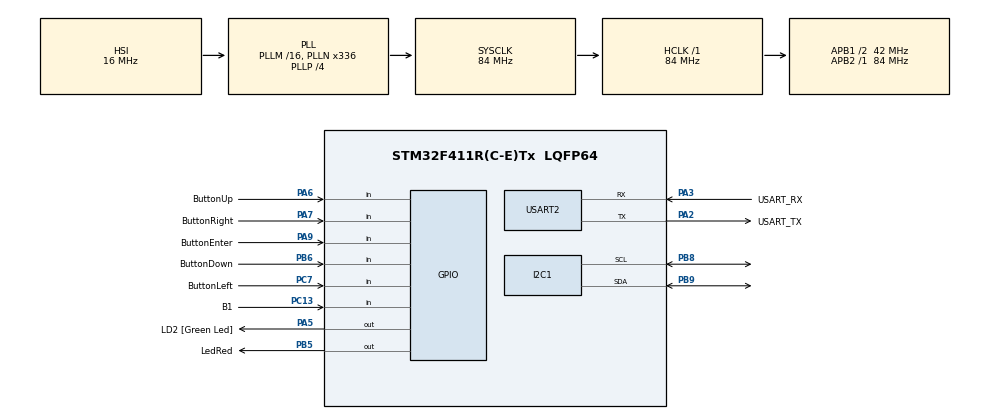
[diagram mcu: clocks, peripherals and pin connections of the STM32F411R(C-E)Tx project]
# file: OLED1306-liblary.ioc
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Dma.I2C1_TX.0.Direction=DMA_MEMORY_TO_PERIPH
Dma.I2C1_TX.0.FIFOMode=DMA_FIFOMODE_DISABLE
Dma.I2C1_TX.0.Instance=DMA1_Stream1
Dma.I2C1_TX.0.MemDataAlignment=DMA_MDATAALIGN_BYTE
Dma.I2C1_TX.0.MemInc=DMA_MINC_ENABLE
Dma.I2C1_TX.0.Mode=DMA_NORMAL
Dma.I2C1_TX.0.PeriphDataAlignment=DMA_PDATAALIGN_BYTE
Dma.I2C1_TX.0.PeriphInc=DMA_PINC_DISABLE
Dma.I2C1_TX.0.Priority=DMA_PRIORITY_LOW
Dma.Request0=I2C1_TX
I2C1.I2C_Mode=I2C_Fast
Mcu.Family=STM32F4
Mcu.Name=STM32F411R(C-E)Tx
Mcu.Package=LQFP64
NVIC.DMA1_Stream1_IRQn=true\:0\:0\:false\:true\:true\:2\:false\:true\:true
NVIC.I2C1_EV_IRQn=true\:0\:0\:false\:true\:true\:1\:true\:true\:true
NVIC.PriorityGroup=NVIC_PRIORITYGROUP_0
PA13.GPIO_Label=TMS
PA13.Mode=Serial_Wire
PA13.Signal=SYS_JTMS-SWDIO
PA14.GPIO_Label=TCK
PA14.Mode=Serial_Wire
PA14.Signal=SYS_JTCK-SWCLK
PA2.GPIO_Label=USART_TX
PA2.Mode=Asynchronous
PA2.Signal=USART2_TX
PA3.GPIO_Label=USART_RX
PA3.Mode=Asynchronous
PA3.Signal=USART2_RX
PA5.GPIO_Label=LD2 [Green Led]
PA5.Signal=GPIO_Output
PA6.GPIO_Label=ButtonUp
PA6.GPIO_PuPd=GPIO_PULLUP
PA6.Signal=GPIO_Input
PA7.GPIO_Label=ButtonRight
PA7.GPIO_PuPd=GPIO_PULLUP
PA7.Signal=GPIO_Input
PA9.GPIO_Label=ButtonEnter
PA9.GPIO_PuPd=GPIO_PULLUP
PA9.Signal=GPIO_Input
PB3.GPIO_Label=SWO
PB3.Signal=SYS_JTDO-SWO
PB5.GPIO_Label=LedRed
PB5.Signal=GPIO_Output
PB6.GPIO_Label=ButtonDown
PB6.GPIO_PuPd=GPIO_PULLUP
PB6.Signal=GPIO_Input
PB8.Mode=I2C
PB8.Signal=I2C1_SCL
PB9.Mode=I2C
PB9.Signal=I2C1_SDA
PC13-ANTI_TAMP.GPIO_Label=B1
PC13-ANTI_TAMP.GPIO_PuPd=GPIO_PULLUP
PC13-ANTI_TAMP.Signal=GPIO_Input
PC14-OSC32_IN.Mode=LSE-External-Oscillator
PC14-OSC32_IN.Signal=RCC_OSC32_IN
PC15-OSC32_OUT.Mode=LSE-External-Oscillator
PC15-OSC32_OUT.Signal=RCC_OSC32_OUT
PC7.GPIO_Label=ButtonLeft
PC7.GPIO_PuPd=GPIO_PULLUP
PC7.Signal=GPIO_Input
PH0\ -\ OSC_IN.Mode=HSE-External-Clock-Source
PH0\ -\ OSC_IN.Signal=RCC_OSC_IN
PH1\ -\ OSC_OUT.Mode=HSE-External-Clock-Source
PH1\ -\ OSC_OUT.Signal=RCC_OSC_OUT
ProjectManager.HeapSize=0x200
ProjectManager.StackSize=0x400
ProjectManager.TargetToolchain=STM32CubeIDE
RCC.48MHZClocksFreq_Value=84000000
RCC.AHBFreq_Value=84000000
RCC.APB1CLKDivider=RCC_HCLK_DIV2
RCC.APB1Freq_Value=42000000
RCC.APB1TimFreq_Value=84000000
RCC.APB2Freq_Value=84000000
RCC.APB2TimFreq_Value=84000000
RCC.CortexFreq_Value=84000000
RCC.FLatency-AdvancedSettings=FLASH_LATENCY_2
RCC.HCLKFreq_Value=84000000
RCC.HSE_VALUE=8000000
RCC.HSI_VALUE=16000000
RCC.PLLN=336
RCC.PLLP=RCC_PLLP_DIV4
RCC.SYSCLKFreq_VALUE=84000000
RCC.SYSCLKSource=RCC_SYSCLKSOURCE_PLLCLK
RCC.VCOOutputFreq_Value=336000000
USART2.VirtualMode=VM_ASYNC
board=NUCLEO-F411RE

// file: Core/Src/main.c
/* USER CODE BEGIN Header */
/**
  ******************************************************************************
  * @file           : main.c
  * @brief          : Main program body
  ******************************************************************************
  * @attention
  *
  * Copyright (c) 2026 STMicroelectronics.
  * All rights reserved.
  *
  * This software is licensed under terms that can be found in the LICENSE file
  * in the root directory of this software component.
  * If no LICENSE file comes with this software, it is provided AS-IS.
  *
  ******************************************************************************
  */
/* USER CODE END Header */
#include "main.h"
#include "dma.h"
#include "i2c.h"
#include "usart.h"
#include "gpio.h"

/* USER CODE BEGIN Includes */
#include "SSD1306_OLED.h"
#include "GFX_BW.h"
#include "Button.h"
#include "GameConsoleMenu.h"
#include "fonts/fonts.h"
#include "GameSnake.h"
#include "FlappyBird.h"
/* USER CODE END Includes */

/* USER CODE BEGIN PV */
SSD1306_t OLED;

//Buttons
Button_t Enter, Up, Down, Left, Right;
uint8_t ButtonPressedFlag;

//Game console FSM
GameConsole_t Console;

/* USER CODE END PV */

void SystemClock_Config(void);
static void MX_NVIC_Init(void);
/* USER CODE BEGIN PFP */
void Snake_Confirm(void);
void Action_PlaySnake(void);

void Action_PlayFlappy(void);

void TurnLedOff(void);
void TurnLedOn(void);
void ToggleLed(void);

//Wrapper
void Action_MenuUp(void);
void Action_MenuDown(void);
void Action_MenuEnter(void);
void Action_MenuLeft(void);
void Action_MenuRight(void);

/* USER CODE END PFP */

int main(void)
{

  /* MCU Configuration--------------------------------------------------------*/

  /* Reset of all peripherals, Initializes the Flash interface and the Systick. */
  HAL_Init();

  /* Configure the system clock */
  SystemClock_Config();

  /* Initialize all configured peripherals */
  MX_GPIO_Init();
  MX_DMA_Init();
  MX_USART2_UART_Init();
  MX_I2C1_Init();

  /* Initialize interrupts */
  MX_NVIC_Init();
  /* USER CODE BEGIN 2 */
  SSD1306_Init(&OLED, 0x3C, &hi2c1);
  HAL_Delay(50);
  GFX_SetFont(font_8x5);
  SSD1306_Clear(BLACK);
  GFX_DrawString(10, 4, "RETRO GAME CONSOLE", WHITE, BLACK);
  GFX_DrawLine(0, 14, 127, 14, WHITE);

  GFX_DrawRectangle(44, 29, 30, 30, WHITE);
  GFX_DrawRectangle(54, 19, 30, 30, WHITE);

  GFX_DrawLine(44, 29, 54, 19, WHITE);
  GFX_DrawLine(73, 29, 83, 19, WHITE);
  GFX_DrawLine(44, 58, 54, 48, WHITE);
  GFX_DrawLine(73, 58, 83, 48, WHITE);

  GFX_DrawFillRectangle(56, 31, 6, 6, WHITE);
  SSD1306_Display(&OLED);
  HAL_Delay(4000);

  //Game console FSM initialization
  Console_Init(&Console);
//  Console_Draw(&Console, &OLED);

  //Initialize Buttons
  ButtonInit(&Up, ButtonUp_GPIO_Port, ButtonUp_Pin, 30, 500, 200);
  ButtonRegisterPressCallback(&Up, Action_MenuUp);
  ButtonRegisterLongPressCallback(&Up, TurnLedOff);
  ButtonRegisterRepeatCallback(&Up, ToggleLed);
  ButtonRegisterGoToIdleCallback(&Up, TurnLedOff);

  ButtonInit(&Enter, ButtonEnter_GPIO_Port, ButtonEnter_Pin, 30, 500, 200);
  ButtonRegisterPressCallback(&Enter, Action_MenuEnter);
  ButtonRegisterLongPressCallback(&Enter, TurnLedOff);
  ButtonRegisterRepeatCallback(&Enter, ToggleLed);
  ButtonRegisterGoToIdleCallback(&Enter, TurnLedOff);

  ButtonInit(&Down, ButtonDown_GPIO_Port, ButtonDown_Pin, 30, 500, 200);
  ButtonRegisterPressCallback(&Down, Action_MenuDown);
  ButtonRegisterLongPressCallback(&Down, TurnLedOff);
  ButtonRegisterRepeatCallback(&Down, ToggleLed);
  ButtonRegisterGoToIdleCallback(&Down, TurnLedOff);

  ButtonInit(&Left, ButtonLeft_GPIO_Port, ButtonLeft_Pin, 30, 500, 200);
  ButtonRegisterPressCallback(&Left, Action_MenuLeft);
  ButtonRegisterLongPressCallback(&Left, TurnLedOff);
  ButtonRegisterRepeatCallback(&Left, ToggleLed);
  ButtonRegisterGoToIdleCallback(&Left, TurnLedOff);

  ButtonInit(&Right, ButtonRight_GPIO_Port, ButtonRight_Pin, 30, 500, 200);
  ButtonRegisterPressCallback(&Right, Action_MenuRight);
  ButtonRegisterLongPressCallback(&Right, TurnLedOff);
  ButtonRegisterRepeatCallback(&Right, ToggleLed);
  ButtonRegisterGoToIdleCallback(&Right, TurnLedOff);

//DONE TODO: Add variable that shows us current brightness and mode in settings section
//TODO: Add About section
//DONE TODO: Add function for left and right button
 //TODO: Add second game
 //TODO: do electronic schematic in kicad
 //TODO: how to save settingss changed by user?
  /* USER CODE END 2 */

  /* Infinite loop */
  /* USER CODE BEGIN WHILE */
  while (1)
  {

	ButtonTask(&Up);
	ButtonTask(&Down);
	ButtonTask(&Enter);
	ButtonTask(&Left);
	ButtonTask(&Right);

/*
	if(HAL_GPIO_ReadPin(ButtonEnter_GPIO_Port, ButtonEnter_Pin) == GPIO_PIN_RESET
		  || HAL_GPIO_ReadPin(ButtonUp_GPIO_Port, ButtonUp_Pin) == GPIO_PIN_RESET
		  || HAL_GPIO_ReadPin(ButtonDown_GPIO_Port, ButtonDown_Pin) == GPIO_PIN_RESET
		  || HAL_GPIO_ReadPin(ButtonLeft_GPIO_Port, ButtonLeft_Pin) == GPIO_PIN_RESET
		  || HAL_GPIO_ReadPin(ButtonRight_GPIO_Port, ButtonRight_Pin) == GPIO_PIN_RESET)
	{
	  HAL_GPIO_WritePin(LedRed_GPIO_Port, LedRed_Pin, GPIO_PIN_SET);
	}
	else
	{
	  HAL_GPIO_WritePin(LedRed_GPIO_Port, LedRed_Pin, GPIO_PIN_RESET);
	}
	*/

	if (Console.CurrentSystemState == STATE_GAME_SNAKE)
	{
		Snake_UpdateLogic();

		// Rysujemy TYLKO wtedy, gdy logika tego zażąda (ruch lub śmierć)
		if (Snake.NeedsRedraw == 1) {
			Snake_Draw(&OLED);
			Snake.NeedsRedraw = 0; // Opuszczamy flagę
		}
	}/*
	else if(Console.CurrentSystemState == STATE_GAME_FLAPPY)
	{
		Flappy_UpdateLogic();

		if (Flappy.NeedsRedraw == 1)
		{
			Flappy_Draw(&OLED);
			Flappy.NeedsRedraw = 0;
		}
	}*/
	else
	{
		Console_Draw(&Console, &OLED);
	}

	HAL_Delay(10);
    /* USER CODE END WHILE */

  }
}

void SystemClock_Config(void)
{
  RCC_OscInitTypeDef RCC_OscInitStruct = {0};
  RCC_ClkInitTypeDef RCC_ClkInitStruct = {0};

  /** Configure the main internal regulator output voltage
  */
  __HAL_RCC_PWR_CLK_ENABLE();
  __HAL_PWR_VOLTAGESCALING_CONFIG(PWR_REGULATOR_VOLTAGE_SCALE1);

  /** Initializes the RCC Oscillators according to the specified parameters
  * in the RCC_OscInitTypeDef structure.
  */
  RCC_OscInitStruct.OscillatorType = RCC_OSCILLATORTYPE_HSI;
  RCC_OscInitStruct.HSIState = RCC_HSI_ON;
  RCC_OscInitStruct.HSICalibrationValue = RCC_HSICALIBRATION_DEFAULT;
  RCC_OscInitStruct.PLL.PLLState = RCC_PLL_ON;
  RCC_OscInitStruct.PLL.PLLSource = RCC_PLLSOURCE_HSI;
  RCC_OscInitStruct.PLL.PLLM = 16;
  RCC_OscInitStruct.PLL.PLLN = 336;
  RCC_OscInitStruct.PLL.PLLP = RCC_PLLP_DIV4;
  RCC_OscInitStruct.PLL.PLLQ = 4;
  if (HAL_RCC_OscConfig(&RCC_OscInitStruct) != HAL_OK)
  {
    Error_Handler();
  }

  /** Initializes the CPU, AHB and APB buses clocks
  */
  RCC_ClkInitStruct.ClockType = RCC_CLOCKTYPE_HCLK|RCC_CLOCKTYPE_SYSCLK
                              |RCC_CLOCKTYPE_PCLK1|RCC_CLOCKTYPE_PCLK2;
  RCC_ClkInitStruct.SYSCLKSource = RCC_SYSCLKSOURCE_PLLCLK;
  RCC_ClkInitStruct.AHBCLKDivider = RCC_SYSCLK_DIV1;
  RCC_ClkInitStruct.APB1CLKDivider = RCC_HCLK_DIV2;
  RCC_ClkInitStruct.APB2CLKDivider = RCC_HCLK_DIV1;

  if (HAL_RCC_ClockConfig(&RCC_ClkInitStruct, FLASH_LATENCY_2) != HAL_OK)
  {
    Error_Handler();
  }
}

/**
  * @brief NVIC Configuration.
  * @retval None
  */
static void MX_NVIC_Init(void)
{
  /* I2C1_EV_IRQn interrupt configuration */
  HAL_NVIC_SetPriority(I2C1_EV_IRQn, 0, 0);
  HAL_NVIC_EnableIRQ(I2C1_EV_IRQn);
  /* DMA1_Stream1_IRQn interrupt configuration */
  HAL_NVIC_SetPriority(DMA1_Stream1_IRQn, 0, 0);
  HAL_NVIC_EnableIRQ(DMA1_Stream1_IRQn);
}

/* USER CODE BEGIN 4 */
void Snake_Confirm(void) {
    if (Snake.IsDead == 1) {
        // Go back to menu
        Console.CurrentSystemState = STATE_GAMES_MENU;
        Console.MenuCursorIndex = 0;
        Console.NeedsRedraw = 1;
    }
}

//change state MENU / game
void Action_PlaySnake(void) {
    // 1. Zmiana stanu systemu na grę
    Console.CurrentSystemState = STATE_GAME_SNAKE;

    // 2. Inicjalizacja gry (wąż ustawia się na środku, SpeedMs domyślnie na 150)
    Snake_Init();

    // 3. NADPISANIE PRĘDKOŚCI NA PODSTAWIE MENU
    // Zmienna Console.Settings[1] przechowuje indeks trybu (0=EASY, 1=NORMAL, 2=HARD)
    switch (Console.Settings[1]) {
        case EASY:
            Snake.SpeedMs = 250;
            break;
        case NORMAL:
            Snake.SpeedMs = 150;
            break;
        case HARD:
            Snake.SpeedMs = 130;
            break;
        default:
            Snake.SpeedMs = 150; // Zabezpieczenie (wartość domyślna)
            break;
    }
}
/*
void Action_PlayFlappy(void) {
    // 1. Zmiana stanu całego urządzenia na grę Flappy Bird
    Console.CurrentSystemState = STATE_GAME_FLAPPY;

    // 2. Zresetowanie fizyki (ptak ląduje na środku, rury się ustawiają)
    Flappy_Init();

    // 3. Konfiguracja poziomu trudności na podstawie opcji w Settings
    // Console.Settings[1] to nasz tryb (0=EASY, 1=NORMAL, 2=HARD)
    switch (Console.Settings[1]) {
        case EASY:
            Flappy.FrameRateMs = 40; // Wolniejsza fizyka - łatwiej reagować
            break;
        case NORMAL:
            Flappy.FrameRateMs = 30; // Standardowa prędkość
            break;
        case HARD:
            Flappy.FrameRateMs = 20; // Szybsza fizyka - mało czasu na reakcję!
            break;
        default:
            Flappy.FrameRateMs = 30;
            break;
    }
}
*/
//change display brightness
void Action_ChangeContrast()
{
	    uint32_t temp = Console.Settings[0] * 255;
	    uint8_t hardware_value = (uint8_t)(temp / 100);

	    // Używamy globalnej zmiennej OLED z main.c
	    SSD1306_Command(&OLED, SSD1306_SETCONTRAST);
	    SSD1306_Command(&OLED, hardware_value);
}

//wrapper
void Action_MenuUp(void) {
    if (Console.CurrentSystemState == STATE_GAME_SNAKE) {
        Snake_TurnUp();
    }/*
    else if (Console.CurrentSystemState == STATE_GAME_FLAPPY) {
        Flappy_Jump(); // Skok ptaka!
    }*/
    else {
        Console_MoveUp(&Console);
    }
    TurnLedOn();
}
void Action_MenuDown(void) {
    if (Console.CurrentSystemState == STATE_GAME_SNAKE) {
        Snake_TurnDown();
    }/*
    else if (Console.CurrentSystemState == STATE_GAME_FLAPPY) {
        // Puste! Ptak nie reaguje na strzałkę w dół.
    }*/
    else {
        Console_MoveDown(&Console);
    }
    TurnLedOn();
}

void Action_MenuEnter(void) {
    if (Console.CurrentSystemState == STATE_GAME_SNAKE) {
        Snake_Confirm();
    }/*
    else if (Console.CurrentSystemState == STATE_GAME_FLAPPY) {
		// Jeśli ptak zginął, Enter wraca do menu. Jeśli żyje, skacze!
		if (Flappy.IsDead) {
			Console.CurrentSystemState = STATE_GAMES_MENU;
			Console.MenuCursorIndex = 0;
			Console.NeedsRedraw = 1;
		} else {
			Flappy_Jump();
		}
	}*/
    else {
        Console_Enter(&Console);
    }
    TurnLedOn();
}

void Action_MenuLeft(void) {
    if (Console.CurrentSystemState == STATE_GAME_SNAKE) {
        Snake_TurnLeft();
    }/*
    else if (Console.CurrentSystemState == STATE_GAME_FLAPPY) {
        // Puste!
    }*/
    else {
        Console_MoveLeft(&Console);
    }
    TurnLedOn();
}
void Action_MenuRight(void) {
    if (Console.CurrentSystemState == STATE_GAME_SNAKE) {
        Snake_TurnRight();
    }/*
    else if (Console.CurrentSystemState == STATE_GAME_FLAPPY) {
        // Puste!
    }*/
    else {
        Console_MoveRight(&Console);
    }
    TurnLedOn();
}

//basic functions
void ToggleLed(void)
{
	HAL_GPIO_TogglePin(LedRed_GPIO_Port, LedRed_Pin);
}
void TurnLedOff(void)
{
	HAL_GPIO_WritePin(LedRed_GPIO_Port, LedRed_Pin, GPIO_PIN_RESET);
	ButtonPressedFlag = 0;
}
void TurnLedOn(void)
{
	HAL_GPIO_WritePin(LedRed_GPIO_Port, LedRed_Pin, GPIO_PIN_SET);
	ButtonPressedFlag = 1;
}
/* USER CODE END 4 */

void Error_Handler(void)
{
  __disable_irq();
  while (1)
  {
  }
}
